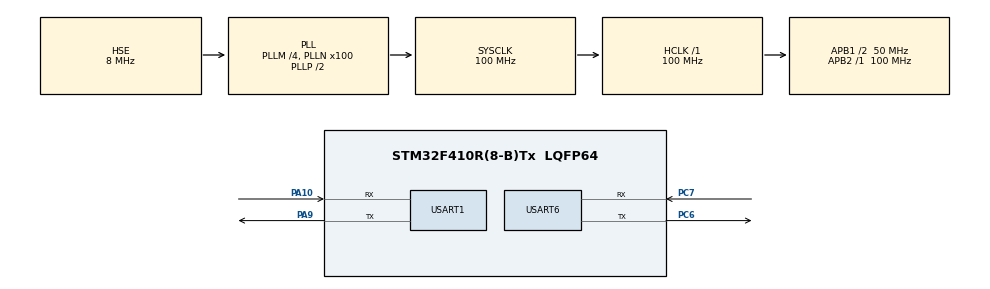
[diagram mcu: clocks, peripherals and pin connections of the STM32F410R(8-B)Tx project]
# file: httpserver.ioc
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Mcu.Family=STM32F4
Mcu.Name=STM32F410R(8-B)Tx
Mcu.Package=LQFP64
NVIC.PriorityGroup=NVIC_PRIORITYGROUP_4
NVIC.USART1_IRQn=true\:0\:0\:false\:false\:true\:true\:true\:true
PA10.Mode=Asynchronous
PA10.Signal=USART1_RX
PA13.Mode=Serial_Wire
PA13.Signal=SYS_JTMS-SWDIO
PA14.Mode=Serial_Wire
PA14.Signal=SYS_JTCK-SWCLK
PA9.Mode=Asynchronous
PA9.Signal=USART1_TX
PC6.Mode=Asynchronous
PC6.Signal=USART6_TX
PC7.Mode=Asynchronous
PC7.Signal=USART6_RX
PH0\ -\ OSC_IN.Mode=HSE-External-Clock-Source
PH0\ -\ OSC_IN.Signal=RCC_OSC_IN
PH1\ -\ OSC_OUT.Mode=HSE-External-Clock-Source
PH1\ -\ OSC_OUT.Signal=RCC_OSC_OUT
ProjectManager.HeapSize=0x200
ProjectManager.StackSize=0x400
ProjectManager.TargetToolchain=STM32CubeIDE
RCC.48MHZClocksFreq_Value=50000000
RCC.AHBFreq_Value=100000000
RCC.APB1CLKDivider=RCC_HCLK_DIV2
RCC.APB1Freq_Value=50000000
RCC.APB1TimFreq_Value=100000000
RCC.APB2Freq_Value=100000000
RCC.APB2TimFreq_Value=100000000
RCC.CortexFreq_Value=100000000
RCC.HCLKFreq_Value=100000000
RCC.HSE_VALUE=8000000
RCC.HSI_VALUE=16000000
RCC.LSE_VALUE=32768
RCC.PLLM=4
RCC.PLLN=100
RCC.PLLSourceVirtual=RCC_PLLSOURCE_HSE
RCC.SYSCLKFreq_VALUE=100000000
RCC.SYSCLKSource=RCC_SYSCLKSOURCE_PLLCLK
RCC.VCOOutputFreq_Value=200000000
USART1.VirtualMode=VM_ASYNC
USART6.VirtualMode=VM_ASYNC
board=custom

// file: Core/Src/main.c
/* USER CODE BEGIN Header */
/**
  ******************************************************************************
  * @file           : main.c
  * @brief          : Main program body
  ******************************************************************************
  * @attention
  *
  * Copyright (c) 2026 STMicroelectronics.
  * All rights reserved.
  *
  * This software is licensed under terms that can be found in the LICENSE file
  * in the root directory of this software component.
  * If no LICENSE file comes with this software, it is provided AS-IS.
  *
  ******************************************************************************
  */
/* USER CODE END Header */
#include "main.h"

/* USER CODE BEGIN Includes */
#include <stdio.h>
#include <string.h>
/* USER CODE END Includes */

/* USER CODE BEGIN PTD */
//HTTP Server Related
typedef enum { CLOSED, CONNECTED, DATA } connection_state;
typedef struct {
	connection_state state;
	char data[128];
} connection;
/* USER CODE END PTD */

UART_HandleTypeDef huart1;
UART_HandleTypeDef huart6;

/* USER CODE BEGIN PV */
connection connections[5];
uint8_t byteRecieved;
char request[128];
char tmpbuf[256];
/* USER CODE END PV */

void SystemClock_Config(void);
static void MX_GPIO_Init(void);
static void MX_USART1_UART_Init(void);
static void MX_USART6_UART_Init(void);

/* USER CODE BEGIN 0 */

// UART Related
void onWifiDisconnect();
void sendUART(UART_HandleTypeDef *huart, char inp[]) {
    HAL_UART_Transmit(huart, (uint8_t *)inp, strlen(inp), HAL_MAX_DELAY);
    HAL_UART_Transmit(huart, (uint8_t *)"\r\n", 2, HAL_MAX_DELAY);
}

void recieveUART(UART_HandleTypeDef *huart, char* buf,int size) {
	uint8_t c;
	int lInd = 0;
	while (1) {
		if (HAL_UART_Receive(huart, &c, 1, HAL_MAX_DELAY) == HAL_OK) {
			if ((c == '\r') || (c == '\n')) {
				if (lInd > 0) {
					buf[lInd] = '\0';
					return;
				}
			} else if (lInd < size - 1) {
				buf[lInd++] = c;
			}
		}
	}
}

// Wifi Related
int sendATCommand(UART_HandleTypeDef *huart, char atCMD[],char *output,int outputSize) {
	output[0] = '\0';
	sendUART(huart, atCMD);
	char recBuf[512];
	while (1) {
		recieveUART(huart, recBuf, 64);
		strncat(output,recBuf, outputSize - strlen(output) - 1);
		strncat(output,"\r\n", outputSize - strlen(output) - 1);
		if (strcmp(recBuf, "OK") == 0) {
			return 1;
		} else if (strcmp(recBuf, "ERROR") == 0 || strcmp(recBuf, "FAIL") == 0) {
			return 0;
		}
	}
}

int initWifi(UART_HandleTypeDef *huart) {
	HAL_Delay(2000);
	__HAL_UART_CLEAR_OREFLAG(huart);
	char buf[32];
	sendATCommand(huart, "ATE0", buf, sizeof(buf));
	return sendATCommand(huart, "AT", buf, sizeof(buf));
}

int setMode(UART_HandleTypeDef *huart, char mode[], char *outBuf,int outBufSize) {
	outBuf[0] = '\0';
	char toSend[16];
	if (strcmp(mode,"STATION") == 0) {
		strcpy(toSend,"AT+CWMODE=1");
	} else if (strcmp(mode,"AP") == 0) {
		strcpy(toSend,"AT+CWMODE=2");
	} else if (strcmp(mode,"STATION_AP") == 0) {
		strcpy(toSend,"AT+CWMODE=3");
	} else {
		return -1;
	}
	return sendATCommand(huart, toSend, outBuf, outBufSize);
}

int joinAP(UART_HandleTypeDef *huart, char ssid[], char password[], char *outBuf,int outBufSize) {
	outBuf[0] = '\0';
	char toSend[128] = "AT+CWJAP=\"";
	strcat(toSend, ssid);
	strcat(toSend, "\",\"");
	strcat(toSend,password);
	strcat(toSend,"\"");
	return sendATCommand(huart, toSend, outBuf, outBufSize);
}

int getMAC(UART_HandleTypeDef *huart, char* macBuf,int macBufSize) {
	macBuf[0] = '\0';
	char outBuf[256];
	int ret = sendATCommand(huart, "AT+CIFSR", outBuf, sizeof(outBuf));
	if (ret) {
		char *mac = strstr(outBuf,"STAMAC");
		if (mac == NULL) {
			return 0;
		} else {
			mac += 8;
			int lastInd = 0;
			while (lastInd < macBufSize - 1 && *mac != '\0') {
				if (*mac == '\"') break;
				macBuf[lastInd++] = *mac;
				mac++;
			}
			macBuf[lastInd] = '\0';
		}
	}
	return ret;
}

int getIP(UART_HandleTypeDef *huart, char* ipBuf,int ipBufSize) {
	ipBuf[0] = '\0';
	char outBuf[256];
	int ret = sendATCommand(huart, "AT+CIFSR", outBuf, sizeof(outBuf));
	if (ret) {
		char *ip = strstr(outBuf,"STAIP");
		if (ip == NULL) {
			return 0;
		} else {
			ip += 7;
			int lastInd = 0;
			while (lastInd < ipBufSize - 1 && *ip != '\0') {
				if (*ip == '\"') break;
				ipBuf[lastInd++] = *ip;
				ip++;
			}
			ipBuf[lastInd] = '\0';
		}
	}
	return ret;
}

//HTTP Server Related
void HAL_UART_RxCpltCallback(UART_HandleTypeDef *huart) {
	if (huart->Instance == USART1) {
		int ind = strlen(request);
		if ((byteRecieved != '\r' && byteRecieved != '\n') && (ind < (int)sizeof(request)-1)) {
			request[ind++] = byteRecieved;
			request[ind] = '\0';
		} else {
			if (strstr(request,"WIFI DISCONNECT") != NULL) {
				onWifiDisconnect();
			} else if (strstr(request,"CONNECT") != NULL) {
				if (request[0] >= '0' && request[0] <= '4' && request[1] == ',')
					connections[request[0] - '0'].state = CONNECTED;
			} else if (strstr(request,"CLOSED") != NULL) {
				if (request[0] >= '0' && request[0] <= '4' && request[1] == ',')
					connections[request[0] - '0'].state = CLOSED;
			}  else {
				char* req = strstr(request,"+IPD");
				if (req != NULL) {
					req += 5;
					int link = *req - '0';
					req += 2;
					while (*req != ':' && *req != '\0') {
						req++;
					}
					if (link >= 0 && link <= 4 && *req == ':') {
						req += 1;
						if (connections[link].state != DATA) {
							strcpy(connections[link].data,req);
							connections[link].state = DATA;
						}
					}
				}
			}
			request[0] = '\0';
		}
		HAL_UART_Receive_IT(&huart1, &byteRecieved, 1);
	}
}

void HAL_UART_ErrorCallback(UART_HandleTypeDef *huart) {
	if (huart->Instance == USART1) {
		request[0] = '\0';
		HAL_UART_Receive_IT(&huart1, &byteRecieved, 1);
	}
}

int initServer() {
	char outBuf[8];
	int r1 = sendATCommand(&huart1, "AT+CIPMUX=1", outBuf, sizeof(outBuf));
	if (!r1) {
		return r1;
	}
	if (r1) {
		r1 = sendATCommand(&huart1, "AT+CIPSERVER=1,80", outBuf, sizeof(outBuf));
		HAL_UART_Receive_IT(&huart1, &byteRecieved, 1);
	}
	return r1;
}

int sendHTML(char content[],int link) {
	char out[1024];
	char toSend[32];
	int len = snprintf(out,sizeof(out),"HTTP/1.1 200 OK\r\nContent-Type: text/html\r\nContent-Length: %d\r\nConnection: close\r\n\r\n%s",strlen(content),content);
	if (len >= (int)sizeof(out)) len = sizeof(out) - 1;
	snprintf(toSend,sizeof(toSend),"AT+CIPSEND=%d,%d",link,len);

	HAL_UART_AbortReceive(&huart1);

	int ret = sendATCommand(&huart1, toSend, tmpbuf, sizeof(tmpbuf));
	if (ret) {
		uint8_t c;
		do {
			HAL_UART_Receive(&huart1, &c, 1, HAL_MAX_DELAY);
		} while (c != '>');

		HAL_UART_Transmit(&huart1, (uint8_t *)out, len, HAL_MAX_DELAY);
		__HAL_UART_CLEAR_OREFLAG(&huart1);

		char recBuf[64];
		do {
			recieveUART(&huart1, recBuf, sizeof(recBuf));
		} while (strcmp(recBuf, "SEND OK") != 0 && strcmp(recBuf, "SEND FAIL") != 0 && strcmp(recBuf, "ERROR") != 0);
		ret = (strcmp(recBuf, "SEND OK") == 0);
	}

	snprintf(toSend,sizeof(toSend),"AT+CIPCLOSE=%d",link);
	sendATCommand(&huart1, toSend, tmpbuf, sizeof(tmpbuf));
	connections[link].state = CLOSED;

	request[0] = '\0';
	HAL_UART_Receive_IT(&huart1, &byteRecieved, 1);
	return ret;
}

void handleResponse(void (*respHandler)(char*,int)) {
	for (int i = 0;i < 5;i++) {
		if (connections[i].state == DATA) {
			char* url = strstr(connections[i].data,"GET");
			if (url != NULL) {
				url += 4;
				char urlRec[32];
				int lInd = 0;
				while (*url != ' ') {
					urlRec[lInd++] = *url++;
				}
				urlRec[lInd] = '\0';
				respHandler(urlRec,i);
			} else {
				sendHTML("Not found",i);
			}
		}
	}
}

void handleRouting(char url[],int client) {
	char toPrint[32];
	snprintf(toPrint,sizeof(toPrint),"%d: GET %s",client,url);
	sendUART(&huart6, toPrint);
	if (!strcmp(url,"/")) {
		uint32_t current_time = HAL_GetTick();
		char data[64];
		snprintf(data,sizeof(data),"<h1>Hello from STM32</h1><h2>Tick: %lu</h2>",current_time);
		sendHTML(data,client);
	} else {
		sendHTML("Page not found",client);
	}
}

void onWifiDisconnect() {
	HAL_UART_AbortReceive(&huart1);
	sendUART(&huart6, "Wifi Disconnected. Reconnecting...");
	char data[32];
	data[0] = '\0';
	while (strcmp(data,"WIFI GOT IP")) {
		recieveUART(&huart1, data, sizeof(data));
	}
	sendUART(&huart6, "Connected. Reinitializing Server");
	initServer();
	sendUART(&huart6, "Server initialized successfully");
}

/* USER CODE END 0 */

int main(void)
{

  /* MCU Configuration--------------------------------------------------------*/

  /* Reset of all peripherals, Initializes the Flash interface and the Systick. */
  HAL_Init();

  /* Configure the system clock */
  SystemClock_Config();

  /* Initialize all configured peripherals */
  MX_GPIO_Init();
  MX_USART1_UART_Init();
  MX_USART6_UART_Init();
  /* USER CODE BEGIN 2 */
  char buf[32];
  sendUART(&huart6, "Initializing Wifi...");
  initWifi(&huart1);
  sendUART(&huart6, "Initialized Wifi");
  setMode(&huart1, "STATION", buf, sizeof(buf));

  sendUART(&huart6, "Connecting to Wifi...");
  int ret = joinAP(&huart1, "SNUC", "snu12345", buf, sizeof(buf));
  if (ret) {
	  sendUART(&huart6, "Connected to Wifi Successfully");
	  char buf[128];
	  char buf2[64];
	  getIP(&huart1, buf2, sizeof(buf2));
	  snprintf(buf,sizeof(buf),"IP Address: %s",buf2);
	  sendUART(&huart6, buf);

	  initServer();

  } else {
	  sendUART(&huart6, "Failed to connect to wifi");
  }
  /* USER CODE END 2 */

  /* Infinite loop */
  /* USER CODE BEGIN WHILE */
  while (1)
  {
	  if (ret) {
		  handleResponse(handleRouting);
	  }
    /* USER CODE END WHILE */

  }
}

void SystemClock_Config(void)
{
  RCC_OscInitTypeDef RCC_OscInitStruct = {0};
  RCC_ClkInitTypeDef RCC_ClkInitStruct = {0};

  /** Configure the main internal regulator output voltage
  */
  __HAL_RCC_PWR_CLK_ENABLE();
  __HAL_PWR_VOLTAGESCALING_CONFIG(PWR_REGULATOR_VOLTAGE_SCALE1);

  /** Initializes the RCC Oscillators according to the specified parameters
  * in the RCC_OscInitTypeDef structure.
  */
  RCC_OscInitStruct.OscillatorType = RCC_OSCILLATORTYPE_HSE;
  RCC_OscInitStruct.HSEState = RCC_HSE_BYPASS;
  RCC_OscInitStruct.PLL.PLLState = RCC_PLL_ON;
  RCC_OscInitStruct.PLL.PLLSource = RCC_PLLSOURCE_HSE;
  RCC_OscInitStruct.PLL.PLLM = 4;
  RCC_OscInitStruct.PLL.PLLN = 100;
  RCC_OscInitStruct.PLL.PLLP = RCC_PLLP_DIV2;
  RCC_OscInitStruct.PLL.PLLQ = 4;
  RCC_OscInitStruct.PLL.PLLR = 2;
  if (HAL_RCC_OscConfig(&RCC_OscInitStruct) != HAL_OK)
  {
    Error_Handler();
  }

  /** Initializes the CPU, AHB and APB buses clocks
  */
  RCC_ClkInitStruct.ClockType = RCC_CLOCKTYPE_HCLK|RCC_CLOCKTYPE_SYSCLK
                              |RCC_CLOCKTYPE_PCLK1|RCC_CLOCKTYPE_PCLK2;
  RCC_ClkInitStruct.SYSCLKSource = RCC_SYSCLKSOURCE_PLLCLK;
  RCC_ClkInitStruct.AHBCLKDivider = RCC_SYSCLK_DIV1;
  RCC_ClkInitStruct.APB1CLKDivider = RCC_HCLK_DIV2;
  RCC_ClkInitStruct.APB2CLKDivider = RCC_HCLK_DIV1;

  if (HAL_RCC_ClockConfig(&RCC_ClkInitStruct, FLASH_LATENCY_3) != HAL_OK)
  {
    Error_Handler();
  }
}

static void MX_USART1_UART_Init(void)
{

  huart1.Instance = USART1;
  huart1.Init.BaudRate = 115200;
  huart1.Init.WordLength = UART_WORDLENGTH_8B;
  huart1.Init.StopBits = UART_STOPBITS_1;
  huart1.Init.Parity = UART_PARITY_NONE;
  huart1.Init.Mode = UART_MODE_TX_RX;
  huart1.Init.HwFlowCtl = UART_HWCONTROL_NONE;
  huart1.Init.OverSampling = UART_OVERSAMPLING_16;
  if (HAL_UART_Init(&huart1) != HAL_OK)
  {
    Error_Handler();
  }

}

static void MX_USART6_UART_Init(void)
{

  huart6.Instance = USART6;
  huart6.Init.BaudRate = 115200;
  huart6.Init.WordLength = UART_WORDLENGTH_8B;
  huart6.Init.StopBits = UART_STOPBITS_1;
  huart6.Init.Parity = UART_PARITY_NONE;
  huart6.Init.Mode = UART_MODE_TX_RX;
  huart6.Init.HwFlowCtl = UART_HWCONTROL_NONE;
  huart6.Init.OverSampling = UART_OVERSAMPLING_16;
  if (HAL_UART_Init(&huart6) != HAL_OK)
  {
    Error_Handler();
  }

}

static void MX_GPIO_Init(void)
{

  /* GPIO Ports Clock Enable */
  __HAL_RCC_GPIOH_CLK_ENABLE();
  __HAL_RCC_GPIOC_CLK_ENABLE();
  __HAL_RCC_GPIOA_CLK_ENABLE();

}

void Error_Handler(void)
{
  __disable_irq();
  while (1)
  {
  }
}
